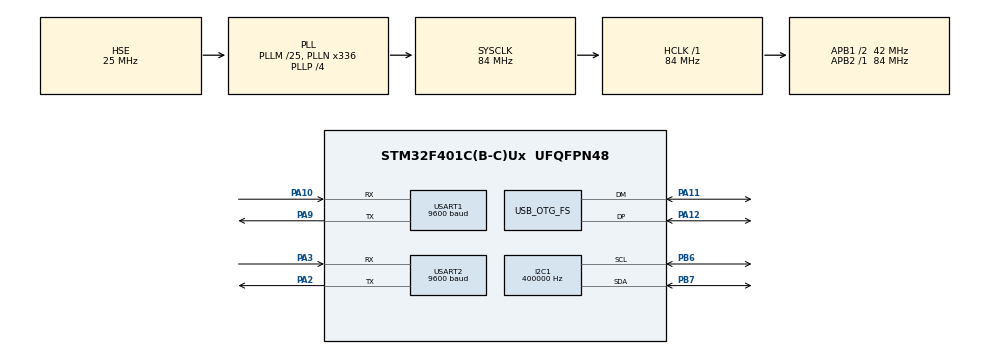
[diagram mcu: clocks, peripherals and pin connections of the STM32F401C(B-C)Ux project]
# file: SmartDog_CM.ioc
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Dma.I2C1_RX.1.Direction=DMA_PERIPH_TO_MEMORY
Dma.I2C1_RX.1.FIFOMode=DMA_FIFOMODE_DISABLE
Dma.I2C1_RX.1.Instance=DMA1_Stream0
Dma.I2C1_RX.1.MemDataAlignment=DMA_MDATAALIGN_BYTE
Dma.I2C1_RX.1.MemInc=DMA_MINC_ENABLE
Dma.I2C1_RX.1.Mode=DMA_NORMAL
Dma.I2C1_RX.1.PeriphDataAlignment=DMA_PDATAALIGN_BYTE
Dma.I2C1_RX.1.PeriphInc=DMA_PINC_DISABLE
Dma.I2C1_RX.1.Priority=DMA_PRIORITY_LOW
Dma.Request0=USART1_RX
Dma.Request1=I2C1_RX
Dma.USART1_RX.0.Direction=DMA_PERIPH_TO_MEMORY
Dma.USART1_RX.0.FIFOMode=DMA_FIFOMODE_DISABLE
Dma.USART1_RX.0.Instance=DMA2_Stream2
Dma.USART1_RX.0.MemDataAlignment=DMA_MDATAALIGN_BYTE
Dma.USART1_RX.0.MemInc=DMA_MINC_ENABLE
Dma.USART1_RX.0.Mode=DMA_NORMAL
Dma.USART1_RX.0.PeriphDataAlignment=DMA_PDATAALIGN_BYTE
Dma.USART1_RX.0.PeriphInc=DMA_PINC_DISABLE
Dma.USART1_RX.0.Priority=DMA_PRIORITY_LOW
FREERTOS.BinarySemaphores01=gaitControlBinarySem,Dynamic,NULL
FREERTOS.Queues01=usart1RxMsgQueue,3,USART_RECEIVETYPE,0,Dynamic,NULL,NULL
FREERTOS.Tasks01=defaultTask,24,1024,StartDefaultTask,Default,NULL,Dynamic,NULL,NULL;usart1RxTask,24,256,StartUsart1RxTask,Default,NULL,Dynamic,NULL,NULL
FREERTOS.Timers01=LSCControlTimer,LSCControlCallback,osTimerPeriodic,Default,NULL,Dynamic,NULL
FREERTOS.configUSE_TICK_HOOK=0
I2C1.ClockSpeed=400000
I2C1.GeneralCallMode=I2C_GENERALCALL_DISABLE
I2C1.I2C_Mode=I2C_Fast
I2C1.NoStretchMode=I2C_NOSTRETCH_DISABLE
Mcu.Family=STM32F4
Mcu.Name=STM32F401C(B-C)Ux
Mcu.Package=UFQFPN48
NVIC.DMA1_Stream0_IRQn=true\:5\:0\:true\:false\:true\:true\:false\:true
NVIC.DMA2_Stream2_IRQn=true\:5\:0\:true\:false\:true\:true\:false\:true
NVIC.I2C1_ER_IRQn=true\:5\:0\:true\:false\:true\:false\:true\:true
NVIC.I2C1_EV_IRQn=true\:5\:0\:true\:false\:true\:false\:true\:true
NVIC.OTG_FS_IRQn=true\:8\:0\:true\:false\:true\:false\:false\:true
NVIC.PriorityGroup=NVIC_PRIORITYGROUP_4
NVIC.TIM1_UP_TIM10_IRQn=true\:0\:0\:false\:false\:true\:false\:false\:true
NVIC.TimeBase=TIM1_UP_TIM10_IRQn
NVIC.TimeBaseIP=TIM1
NVIC.USART1_IRQn=true\:7\:0\:true\:false\:true\:true\:true\:true
PA10.Mode=Asynchronous
PA10.Signal=USART1_RX
PA11.Mode=Device_Only
PA11.Signal=USB_OTG_FS_DM
PA12.Mode=Device_Only
PA12.Signal=USB_OTG_FS_DP
PA13.Mode=Serial_Wire
PA13.Signal=SYS_JTMS-SWDIO
PA14.Mode=Serial_Wire
PA14.Signal=SYS_JTCK-SWCLK
PA2.Mode=Asynchronous
PA2.Signal=USART2_TX
PA3.Mode=Asynchronous
PA3.Signal=USART2_RX
PA9.Mode=Asynchronous
PA9.Signal=USART1_TX
PB6.Mode=I2C
PB6.Signal=I2C1_SCL
PB7.Mode=I2C
PB7.Signal=I2C1_SDA
PH0\ -\ OSC_IN.Mode=HSE-External-Oscillator
PH0\ -\ OSC_IN.Signal=RCC_OSC_IN
PH1\ -\ OSC_OUT.Mode=HSE-External-Oscillator
PH1\ -\ OSC_OUT.Signal=RCC_OSC_OUT
ProjectManager.HeapSize=0x4000
ProjectManager.StackSize=0x1000
ProjectManager.TargetToolchain=MDK-ARM V5.27
RCC.48MHZClocksFreq_Value=48000000
RCC.AHBFreq_Value=84000000
RCC.APB1CLKDivider=RCC_HCLK_DIV2
RCC.APB1Freq_Value=42000000
RCC.APB1TimFreq_Value=84000000
RCC.APB2Freq_Value=84000000
RCC.APB2TimFreq_Value=84000000
RCC.CortexFreq_Value=84000000
RCC.HCLKFreq_Value=84000000
RCC.HSE_VALUE=25000000
RCC.HSI_VALUE=16000000
RCC.LSE_VALUE=32768
RCC.PLLM=25
RCC.PLLN=336
RCC.PLLP=RCC_PLLP_DIV4
RCC.PLLQ=7
RCC.SYSCLKFreq_VALUE=84000000
RCC.SYSCLKSource=RCC_SYSCLKSOURCE_PLLCLK
RCC.VCOOutputFreq_Value=336000000
USART1.BaudRate=9600
USART1.VirtualMode=VM_ASYNC
USART2.BaudRate=9600
USART2.VirtualMode=VM_ASYNC
USB_DEVICE.CLASS_NAME_FS=CDC
USB_DEVICE.VirtualMode=Cdc
USB_DEVICE.VirtualModeFS=Cdc_FS
USB_OTG_FS.VirtualMode=Device_Only
VP_FREERTOS_VS_CMSIS_V2.Mode=CMSIS_V2
VP_SYS_VS_tim1.Mode=TIM1
VP_USB_DEVICE_VS_USB_DEVICE_CDC_FS.Mode=CDC_FS
board=custom

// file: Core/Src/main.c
/* USER CODE BEGIN Header */
/**
  ******************************************************************************
  * @file           : main.c
  * @brief          : Main program body
  ******************************************************************************
  * @attention
  *
  * <h2><center>&copy; Copyright (c) 2021 STMicroelectronics.
  * All rights reserved.</center></h2>
  *
  * This software component is licensed by ST under Ultimate Liberty license
  * SLA0044, the "License"; You may not use this file except in compliance with
  * the License. You may obtain a copy of the License at:
  *                             www.st.com/SLA0044
  *
  ******************************************************************************
  */
/* USER CODE END Header */
#include "main.h"
#include "cmsis_os.h"
#include "dma.h"
#include "i2c.h"
#include "usart.h"
#include "usb_device.h"
#include "gpio.h"

/* USER CODE BEGIN Includes */
#include "stdio.h"
#include "usbd_cdc_if.h"
#include "test_workspace.h"
#include "Quadruped_huaner.h"
#include "OLED.h"
#include "JY901.h"
/* USER CODE END Includes */

/* USER CODE BEGIN PV */
double a[4] = {0.0};
extern JY901_Angle IMU;
extern unsigned char str[100];
/* USER CODE END PV */

void SystemClock_Config(void);
void MX_FREERTOS_Init(void);

int main(void)
{
  /* USER CODE BEGIN 1 */

	//char ch=0;
  /* USER CODE END 1 */

  /* MCU Configuration--------------------------------------------------------*/

  /* Reset of all peripherals, Initializes the Flash interface and the Systick. */
  HAL_Init();

  /* Configure the system clock */
  SystemClock_Config();

  /* Initialize all configured peripherals */
  MX_GPIO_Init();
  MX_DMA_Init();
  MX_USART1_UART_Init();
  MX_USART2_UART_Init();
  MX_I2C1_Init();
  /* USER CODE BEGIN 2 */
	USER_UART_Init();
	//USB_Status_Init();

	MX_USB_DEVICE_Init();
	Servo_Init();
	gait_Init();
	OLED_Init();
	printf("System Init Success\n\r");
	usb_printf("System Init Success\n\r");

  /* USER CODE END 2 */

  /* Init scheduler */
  osKernelInitialize();  /* Call init function for freertos objects (in freertos.c) */
  MX_FREERTOS_Init();
  /* Start scheduler */
  osKernelStart();

  /* We should never get here as control is now taken by the scheduler */
  /* Infinite loop */
  while (1)
  {

  }
}

void SystemClock_Config(void)
{
  RCC_OscInitTypeDef RCC_OscInitStruct = {0};
  RCC_ClkInitTypeDef RCC_ClkInitStruct = {0};

  /** Configure the main internal regulator output voltage
  */
  __HAL_RCC_PWR_CLK_ENABLE();
  __HAL_PWR_VOLTAGESCALING_CONFIG(PWR_REGULATOR_VOLTAGE_SCALE2);
  /** Initializes the RCC Oscillators according to the specified parameters
  * in the RCC_OscInitTypeDef structure.
  */
  RCC_OscInitStruct.OscillatorType = RCC_OSCILLATORTYPE_HSE;
  RCC_OscInitStruct.HSEState = RCC_HSE_ON;
  RCC_OscInitStruct.PLL.PLLState = RCC_PLL_ON;
  RCC_OscInitStruct.PLL.PLLSource = RCC_PLLSOURCE_HSE;
  RCC_OscInitStruct.PLL.PLLM = 25;
  RCC_OscInitStruct.PLL.PLLN = 336;
  RCC_OscInitStruct.PLL.PLLP = RCC_PLLP_DIV4;
  RCC_OscInitStruct.PLL.PLLQ = 7;
  if (HAL_RCC_OscConfig(&RCC_OscInitStruct) != HAL_OK)
  {
    Error_Handler();
  }
  /** Initializes the CPU, AHB and APB buses clocks
  */
  RCC_ClkInitStruct.ClockType = RCC_CLOCKTYPE_HCLK|RCC_CLOCKTYPE_SYSCLK
                              |RCC_CLOCKTYPE_PCLK1|RCC_CLOCKTYPE_PCLK2;
  RCC_ClkInitStruct.SYSCLKSource = RCC_SYSCLKSOURCE_PLLCLK;
  RCC_ClkInitStruct.AHBCLKDivider = RCC_SYSCLK_DIV1;
  RCC_ClkInitStruct.APB1CLKDivider = RCC_HCLK_DIV2;
  RCC_ClkInitStruct.APB2CLKDivider = RCC_HCLK_DIV1;

  if (HAL_RCC_ClockConfig(&RCC_ClkInitStruct, FLASH_LATENCY_2) != HAL_OK)
  {
    Error_Handler();
  }
}

void HAL_TIM_PeriodElapsedCallback(TIM_HandleTypeDef *htim)
{
  if (htim->Instance == TIM1) {
    HAL_IncTick();
  }
}

void Error_Handler(void)
{
}

/************************ (C) COPYRIGHT STMicroelectronics *****END OF FILE****/

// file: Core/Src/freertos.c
/* USER CODE BEGIN Header */
/**
  ******************************************************************************
  * File Name          : freertos.c
  * Description        : Code for freertos applications
  ******************************************************************************
  * @attention
  *
  * <h2><center>&copy; Copyright (c) 2021 STMicroelectronics.
  * All rights reserved.</center></h2>
  *
  * This software component is licensed by ST under Ultimate Liberty license
  * SLA0044, the "License"; You may not use this file except in compliance with
  * the License. You may obtain a copy of the License at:
  *                             www.st.com/SLA0044
  *
  ******************************************************************************
  */
/* USER CODE END Header */

#include "FreeRTOS.h"
#include "task.h"
#include "main.h"
#include "cmsis_os.h"

/* USER CODE BEGIN Includes */
#include "stdio.h"
#include "usart.h"

#include "usb_device.h"
#include "usbd_cdc_if.h"

#include "queue.h"
#include "semphr.h"

#include "LobotServoController.h"
#include "Quadruped_huaner.h"
#include "test_workspace.h"

#include "Dog_interface.h"
/* USER CODE END Includes */

/* USER CODE BEGIN Variables */

int isFreeRTOSSysOn = 0;

uint16_t  LSCControlTimerCount = 0;
extern uint16_t LSCControlPeriod;

/* USER CODE END Variables */
/* Definitions for defaultTask */
osThreadId_t defaultTaskHandle;
const osThreadAttr_t defaultTask_attributes = {
  .name = "defaultTask",
  .priority = (osPriority_t) osPriorityNormal,
  .stack_size = 1024 * 4
};
/* Definitions for usart1RxTask */
osThreadId_t usart1RxTaskHandle;
const osThreadAttr_t usart1RxTask_attributes = {
  .name = "usart1RxTask",
  .priority = (osPriority_t) osPriorityNormal,
  .stack_size = 256 * 4
};
/* Definitions for usart1RxMsgQueue */
osMessageQueueId_t usart1RxMsgQueueHandle;
const osMessageQueueAttr_t usart1RxMsgQueue_attributes = {
  .name = "usart1RxMsgQueue"
};
/* Definitions for LSCControlTimer */
osTimerId_t LSCControlTimerHandle;
const osTimerAttr_t LSCControlTimer_attributes = {
  .name = "LSCControlTimer"
};
/* Definitions for gaitControlBinarySem */
osSemaphoreId_t gaitControlBinarySemHandle;
const osSemaphoreAttr_t gaitControlBinarySem_attributes = {
  .name = "gaitControlBinarySem"
};

void StartDefaultTask(void *argument);
void StartUsart1RxTask(void *argument);
void LSCControlCallback(void *argument);

extern void MX_USB_DEVICE_Init(void);
void MX_FREERTOS_Init(void); /* (MISRA C 2004 rule 8.1) */

void MX_FREERTOS_Init(void) {

  /* Create the semaphores(s) */
  /* creation of gaitControlBinarySem */
  gaitControlBinarySemHandle = osSemaphoreNew(1, 1, &gaitControlBinarySem_attributes);

  /* Create the timer(s) */
  /* creation of LSCControlTimer */
  LSCControlTimerHandle = osTimerNew(LSCControlCallback, osTimerPeriodic, NULL, &LSCControlTimer_attributes);

  /* Create the queue(s) */
  /* creation of usart1RxMsgQueue */
  usart1RxMsgQueueHandle = osMessageQueueNew (3, sizeof(USART_RECEIVETYPE), &usart1RxMsgQueue_attributes);

  /* Create the thread(s) */
  /* creation of defaultTask */
  defaultTaskHandle = osThreadNew(StartDefaultTask, NULL, &defaultTask_attributes);

  /* creation of usart1RxTask */
  usart1RxTaskHandle = osThreadNew(StartUsart1RxTask, NULL, &usart1RxTask_attributes);

  /* USER CODE BEGIN RTOS_THREADS */
  /* add threads, ... */
	isFreeRTOSSysOn = 1;
  /* USER CODE END RTOS_THREADS */

}

void StartDefaultTask(void *argument)
{
  /* init code for USB_DEVICE */
  MX_USB_DEVICE_Init();
  /* USER CODE BEGIN StartDefaultTask */
  /* Infinite loop */
	osTimerStart(LSCControlTimerHandle,1);
  for(;;)
  {
		Gait_Controller();
    //osDelay(1);
  }
  /* USER CODE END StartDefaultTask */
}

void StartUsart1RxTask(void *argument)
{
  /* USER CODE BEGIN StartUsart1RxTask */
	USART_RECEIVETYPE pUARTR1;

	printf("Start StartUsart1RxTask\r\n");
  /* Infinite loop */
  for(;;)
  {
		xQueueReceive(usart1RxMsgQueueHandle, (void*)&pUARTR1, osWaitForever);
		printf("UARTR1: \"%s \" ends\r\n", pUARTR1.RxBuff);
		bluetoothTranslater(pUARTR1.RxBuff);
  }
  /* USER CODE END StartUsart1RxTask */
}

/* LSCControlCallback function */
void LSCControlCallback(void *argument)
{
  /* USER CODE BEGIN LSCControlCallback */

	LSCControlTimerCount++;
	if(LSCControlTimerCount >= LSCControlPeriod)
	{
		LSC_communication();
		xSemaphoreGive(gaitControlBinarySemHandle);
		LSCControlTimerCount = 0;
	}
  /* USER CODE END LSCControlCallback */
}

/************************ (C) COPYRIGHT STMicroelectronics *****END OF FILE****/
